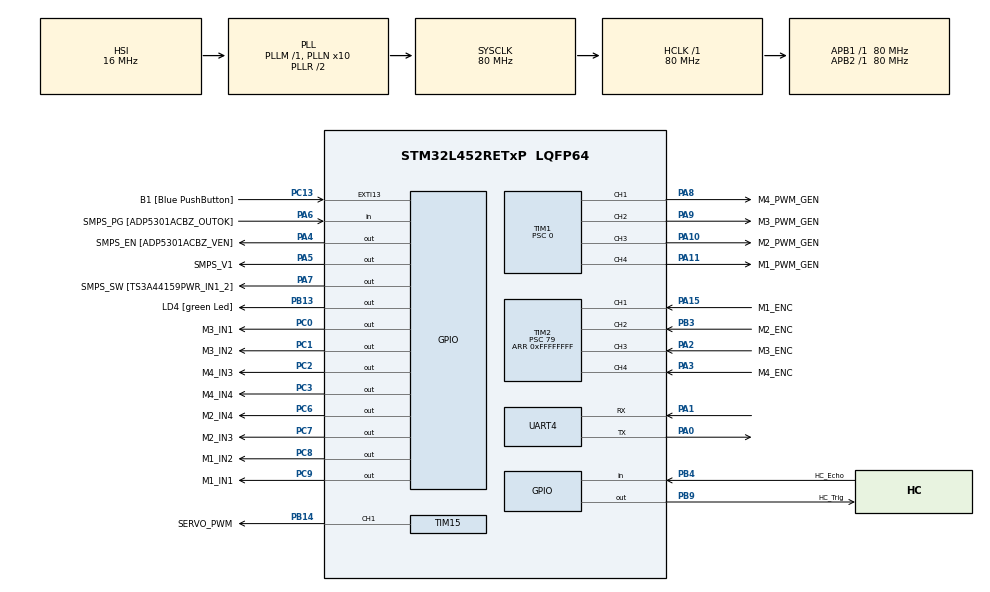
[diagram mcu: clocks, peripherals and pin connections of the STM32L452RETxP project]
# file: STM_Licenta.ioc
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FREERTOS.BinarySemaphores01=uartFree,Dynamic,NULL,Available
FREERTOS.Events01=distanceFlag,Dynamic,NULL;passedSecond,Dynamic,NULL
FREERTOS.Tasks01=defaultTask,24,128,StartDefaultTask,Default,NULL,Dynamic,NULL,NULL;transmitTask,24,128,TransmitTask,Default,NULL,Dynamic,NULL,NULL;readDistanceTas,24,128,ReadDistanceTask,Default,NULL,Dynamic,NULL,NULL
FREERTOS.configUSE_NEWLIB_REENTRANT=1
Mcu.Family=STM32L4
Mcu.Name=STM32L452RETxP
Mcu.Package=LQFP64
NVIC.EXTI15_10_IRQn=true\:6\:0\:true\:false\:true\:true\:true\:true\:true
NVIC.PriorityGroup=NVIC_PRIORITYGROUP_4
NVIC.TIM1_CC_IRQn=true\:5\:0\:false\:false\:true\:true\:true\:true\:true
NVIC.TIM2_IRQn=true\:6\:0\:true\:false\:true\:true\:true\:true\:true
NVIC.TIM6_DAC_IRQn=true\:15\:0\:false\:false\:true\:false\:false\:true\:true
NVIC.TimeBase=TIM6_DAC_IRQn
NVIC.TimeBaseIP=TIM6
NVIC.UART4_IRQn=true\:8\:0\:true\:false\:true\:true\:true\:true\:true
PA0.Mode=Asynchronous
PA0.Signal=UART4_TX
PA1.Mode=Asynchronous
PA1.Signal=UART4_RX
PA10.GPIO_Label=M2_PWM_GEN
PA10.Signal=S_TIM1_CH3
PA11.GPIO_Label=M1_PWM_GEN
PA11.Signal=S_TIM1_CH4
PA13\ (JTMS/SWDIO).GPIO_Label=TMS
PA13\ (JTMS/SWDIO).Mode=Serial_Wire
PA13\ (JTMS/SWDIO).Signal=SYS_JTMS-SWDIO
PA14\ (JTCK/SWCLK).GPIO_Label=TCK
PA14\ (JTCK/SWCLK).Mode=Serial_Wire
PA14\ (JTCK/SWCLK).Signal=SYS_JTCK-SWCLK
PA15\ (JTDI).GPIO_Label=M1_ENC
PA15\ (JTDI).Signal=S_TIM2_CH1
PA2.GPIO_Label=M3_ENC
PA2.Signal=S_TIM2_CH3
PA3.GPIO_Label=M4_ENC
PA3.Signal=S_TIM2_CH4
PA4.GPIO_Label=SMPS_EN [ADP5301ACBZ_VEN]
PA4.Signal=GPIO_Output
PA5.GPIO_Label=SMPS_V1
PA5.GPIO_ModeDefaultOutputPP=GPIO_MODE_OUTPUT_PP
PA5.GPIO_PuPd=GPIO_NOPULL
PA5.GPIO_Speed=GPIO_SPEED_FREQ_LOW
PA5.Signal=GPIO_Output
PA6.GPIO_Label=SMPS_PG [ADP5301ACBZ_OUTOK]
PA6.GPIO_PuPd=GPIO_PULLUP
PA6.Signal=GPIO_Input
PA7.GPIO_Label=SMPS_SW [TS3A44159PWR_IN1_2]
PA7.Signal=GPIO_Output
PA8.GPIO_Label=M4_PWM_GEN
PA8.Signal=S_TIM1_CH1
PA9.GPIO_Label=M3_PWM_GEN
PA9.Signal=S_TIM1_CH2
PB13.GPIO_Label=LD4 [green Led]
PB13.Signal=GPIO_Output
PB14.GPIO_Label=SERVO_PWM
PB14.Signal=S_TIM15_CH1
PB3\ (JTDO/TRACESWO).GPIO_Label=M2_ENC
PB3\ (JTDO/TRACESWO).Signal=S_TIM2_CH2
PB4\ (NJTRST).GPIO_Label=HC_Echo
PB4\ (NJTRST).Signal=GPIO_Input
PB9.GPIO_Label=HC_Trig
PB9.Signal=GPIO_Output
PC0.GPIO_Label=M3_IN1
PC0.Signal=GPIO_Output
PC1.GPIO_Label=M3_IN2
PC1.Signal=GPIO_Output
PC13.GPIO_Label=B1 [Blue PushButton]
PC13.GPIO_ModeDefaultEXTI=GPIO_MODE_IT_FALLING
PC13.GPIO_PuPd=GPIO_NOPULL
PC13.Signal=GPXTI13
PC14-OSC32_IN\ (PC14).Mode=LSE-External-Oscillator
PC14-OSC32_IN\ (PC14).Signal=RCC_OSC32_IN
PC15-OSC32_OUT\ (PC15).Mode=LSE-External-Oscillator
PC15-OSC32_OUT\ (PC15).Signal=RCC_OSC32_OUT
PC2.GPIO_Label=M4_IN3
PC2.Signal=GPIO_Output
PC3.GPIO_Label=M4_IN4
PC3.Signal=GPIO_Output
PC6.GPIO_Label=M2_IN4
PC6.Signal=GPIO_Output
PC7.GPIO_Label=M2_IN3
PC7.Signal=GPIO_Output
PC8.GPIO_Label=M1_IN2
PC8.Signal=GPIO_Output
PC9.GPIO_Label=M1_IN1
PC9.Signal=GPIO_Output
PH0-OSC_IN\ (PH0).GPIO_Label=MCO
PH0-OSC_IN\ (PH0).Mode=HSE-External-Oscillator
PH0-OSC_IN\ (PH0).Signal=RCC_OSC_IN
PH1-OSC_OUT\ (PH1).Mode=HSE-External-Oscillator
PH1-OSC_OUT\ (PH1).Signal=RCC_OSC_OUT
ProjectManager.HeapSize=0x200
ProjectManager.StackSize=0x400
ProjectManager.TargetToolchain=STM32CubeIDE
RCC.ADCFreq_Value=64000000
RCC.AHBFreq_Value=80000000
RCC.APB1Freq_Value=80000000
RCC.APB1TimFreq_Value=80000000
RCC.APB2Freq_Value=80000000
RCC.APB2TimFreq_Value=80000000
RCC.CortexFreq_Value=80000000
RCC.HCLKFreq_Value=80000000
RCC.HSE_VALUE=8000000
RCC.HSI48_VALUE=48000000
RCC.HSI_VALUE=16000000
RCC.MSI_VALUE=4000000
RCC.PLLN=10
RCC.PLLSourceVirtual=RCC_PLLSOURCE_HSI
RCC.PREFETCH_ENABLE=1
RCC.SYSCLKFreq_VALUE=80000000
RCC.SYSCLKSource=RCC_SYSCLKSOURCE_PLLCLK
RCC.USBFreq_Value=64000000
RCC.VCOOutputFreq_Value=160000000
SH.S_TIM15_CH1.0=TIM15_CH1,PWM Generation1 CH1
SH.S_TIM1_CH1.0=TIM1_CH1,PWM Generation1 CH1
SH.S_TIM1_CH2.0=TIM1_CH2,PWM Generation2 CH2
SH.S_TIM1_CH3.0=TIM1_CH3,PWM Generation3 CH3
SH.S_TIM1_CH4.0=TIM1_CH4,PWM Generation4 CH4
SH.S_TIM2_CH1.0=TIM2_CH1,Input_Capture1_from_TI1
SH.S_TIM2_CH2.0=TIM2_CH2,Input_Capture2_from_TI2
SH.S_TIM2_CH3.0=TIM2_CH3,Input_Capture3_from_TI3
SH.S_TIM2_CH4.0=TIM2_CH4,Input_Capture4_from_TI4
TIM1.AutoReloadPreload=TIM_AUTORELOAD_PRELOAD_ENABLE
TIM1.Channel-PWM\ Generation1\ CH1=TIM_CHANNEL_1
TIM1.Channel-PWM\ Generation2\ CH2=TIM_CHANNEL_2
TIM1.Channel-PWM\ Generation3\ CH3=TIM_CHANNEL_3
TIM1.Channel-PWM\ Generation4\ CH4=TIM_CHANNEL_4
TIM1.Prescaler=0
TIM15.Channel-PWM\ Generation1\ CH1=TIM_CHANNEL_1
TIM15.Period=20000
TIM15.Prescaler=79
TIM2.Channel-Input_Capture1_from_TI1=TIM_CHANNEL_1
TIM2.Channel-Input_Capture2_from_TI2=TIM_CHANNEL_2
TIM2.Channel-Input_Capture3_from_TI3=TIM_CHANNEL_3
TIM2.Channel-Input_Capture4_from_TI4=TIM_CHANNEL_4
TIM2.ICFilter_CH1=0
TIM2.ICFilter_CH2=0
TIM2.ICFilter_CH3=0
TIM2.ICFilter_CH4=0
TIM2.Period=0xFFFFFFFF
TIM2.Prescaler=79
VP_FREERTOS_VS_CMSIS_V2.Mode=CMSIS_V2
VP_SYS_VS_tim6.Mode=TIM6
VP_TIM15_VS_ClockSourceINT.Mode=Internal
VP_TIM1_VS_ClockSourceINT.Mode=Internal
VP_TIM2_VS_ClockSourceINT.Mode=Internal
VP_TIM3_VS_ClockSourceINT.Mode=Internal
board=NUCLEO-L452RE-P

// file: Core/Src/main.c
/* USER CODE BEGIN Header */
/**
  ******************************************************************************
  * @file           : main.c
  * @brief          : Main program body
  ******************************************************************************
  * @attention
  *
  * Copyright (c) 2026 STMicroelectronics.
  * All rights reserved.
  *
  * This software is licensed under terms that can be found in the LICENSE file
  * in the root directory of this software component.
  * If no LICENSE file comes with this software, it is provided AS-IS.
  *
  ******************************************************************************
  */
/* USER CODE END Header */
#include "main.h"
#include "cmsis_os.h"

/* USER CODE BEGIN Includes */

#include "stdio.h"
#include "string.h"

/* USER CODE END Includes */

TIM_HandleTypeDef htim1;
TIM_HandleTypeDef htim2;
TIM_HandleTypeDef htim3;
TIM_HandleTypeDef htim15;

UART_HandleTypeDef huart4;

/* Definitions for defaultTask */
osThreadId_t defaultTaskHandle;
const osThreadAttr_t defaultTask_attributes = {
  .name = "defaultTask",
  .stack_size = 128 * 4,
  .priority = (osPriority_t) osPriorityNormal,
};
/* Definitions for transmitTask */
osThreadId_t transmitTaskHandle;
const osThreadAttr_t transmitTask_attributes = {
  .name = "transmitTask",
  .stack_size = 128 * 4,
  .priority = (osPriority_t) osPriorityNormal,
};
/* Definitions for readDistanceTas */
osThreadId_t readDistanceTasHandle;
const osThreadAttr_t readDistanceTas_attributes = {
  .name = "readDistanceTas",
  .stack_size = 128 * 4,
  .priority = (osPriority_t) osPriorityNormal,
};
/* Definitions for uartFree */
osSemaphoreId_t uartFreeHandle;
const osSemaphoreAttr_t uartFree_attributes = {
  .name = "uartFree"
};
/* Definitions for distanceFlag */
osEventFlagsId_t distanceFlagHandle;
const osEventFlagsAttr_t distanceFlag_attributes = {
  .name = "distanceFlag"
};
/* Definitions for passedSecond */
osEventFlagsId_t passedSecondHandle;
const osEventFlagsAttr_t passedSecond_attributes = {
  .name = "passedSecond"
};
/* USER CODE BEGIN PV */

#define DISTANCE_TOO_CLOSE	(1U << 0)
#define PASSED_SECOND	(1U << 0)

/* USER CODE END PV */

void SystemClock_Config(void);
static void MX_GPIO_Init(void);
static void MX_TIM1_Init(void);
static void MX_UART4_Init(void);
static void MX_TIM2_Init(void);
static void MX_TIM3_Init(void);
static void MX_TIM15_Init(void);
void StartDefaultTask(void *argument);
void TransmitTask(void *argument);
void ReadDistanceTask(void *argument);

/* USER CODE BEGIN 0 */

uint8_t message, timer_counter = 0;

int __io_putchar(int ch)
{
 // Write character to ITM ch.0
 ITM_SendChar(ch);
 return(ch);
}

/* USER CODE END 0 */

int main(void)
{

  /* MCU Configuration--------------------------------------------------------*/

  /* Reset of all peripherals, Initializes the Flash interface and the Systick. */
  HAL_Init();

  /* USER CODE BEGIN Init */

  CoreDebug->DEMCR |= CoreDebug_DEMCR_TRCENA_Msk;
  DWT->CYCCNT = 0;
  DWT->CTRL |= DWT_CTRL_CYCCNTENA_Msk;

  /* USER CODE END Init */

  /* Configure the system clock */
  SystemClock_Config();

  /* Initialize all configured peripherals */
  MX_GPIO_Init();
  MX_TIM1_Init();
  MX_UART4_Init();
  MX_TIM2_Init();
  MX_TIM3_Init();
  MX_TIM15_Init();
  /* USER CODE BEGIN 2 */
  __HAL_RCC_TIM2_CLK_ENABLE();

  CoreDebug->DEMCR |= CoreDebug_DEMCR_TRCENA_Msk;
  ITM->LAR = 0xC5ACCE55;
  ITM->TCR = ITM_TCR_ITMENA_Msk | ITM_TCR_TSENA_Msk;
  ITM->TER = 1;

  InitializeMotorAtts();
  InitializeServo();

	__HAL_RCC_TIM2_CLK_ENABLE();
	HAL_TIM_Base_Start(&htim2);
	HAL_TIM_IC_Start_IT(&htim2, TIM_CHANNEL_1);
	HAL_TIM_IC_Start_IT(&htim2, TIM_CHANNEL_2);
	HAL_TIM_IC_Start_IT(&htim2, TIM_CHANNEL_3);
	HAL_TIM_IC_Start_IT(&htim2, TIM_CHANNEL_4);

	HAL_TIM_PWM_Start(&htim1, TIM_CHANNEL_1);
	HAL_TIM_PWM_Start(&htim1, TIM_CHANNEL_2);
	HAL_TIM_PWM_Start(&htim1, TIM_CHANNEL_3);
	HAL_TIM_PWM_Start(&htim1, TIM_CHANNEL_4);

	HAL_TIM_PWM_Start(&htim15, TIM_CHANNEL_1);

  /* USER CODE END 2 */

  /* Init scheduler */
  osKernelInitialize();

  /* Create the semaphores(s) */
  /* creation of uartFree */
  uartFreeHandle = osSemaphoreNew(1, 1, &uartFree_attributes);

  /* Create the thread(s) */
  /* creation of defaultTask */
  defaultTaskHandle = osThreadNew(StartDefaultTask, NULL, &defaultTask_attributes);

  /* creation of transmitTask */
  transmitTaskHandle = osThreadNew(TransmitTask, NULL, &transmitTask_attributes);

  /* creation of readDistanceTas */
  readDistanceTasHandle = osThreadNew(ReadDistanceTask, NULL, &readDistanceTas_attributes);

  /* Create the event(s) */
  /* creation of distanceFlag */
  distanceFlagHandle = osEventFlagsNew(&distanceFlag_attributes);

  /* creation of passedSecond */
  passedSecondHandle = osEventFlagsNew(&passedSecond_attributes);

  /* Start scheduler */
  osKernelStart();

  /* We should never get here as control is now taken by the scheduler */

  /* Infinite loop */
  while (1)
  {

  }
}

void SystemClock_Config(void)
{
  RCC_OscInitTypeDef RCC_OscInitStruct = {0};
  RCC_ClkInitTypeDef RCC_ClkInitStruct = {0};

  /** Configure the main internal regulator output voltage
  */
  if (HAL_PWREx_ControlVoltageScaling(PWR_REGULATOR_VOLTAGE_SCALE1) != HAL_OK)
  {
    Error_Handler();
  }

  /** Initializes the RCC Oscillators according to the specified parameters
  * in the RCC_OscInitTypeDef structure.
  */
  RCC_OscInitStruct.OscillatorType = RCC_OSCILLATORTYPE_HSI;
  RCC_OscInitStruct.HSIState = RCC_HSI_ON;
  RCC_OscInitStruct.HSICalibrationValue = 64;
  RCC_OscInitStruct.PLL.PLLState = RCC_PLL_ON;
  RCC_OscInitStruct.PLL.PLLSource = RCC_PLLSOURCE_HSI;
  RCC_OscInitStruct.PLL.PLLM = 1;
  RCC_OscInitStruct.PLL.PLLN = 10;
  RCC_OscInitStruct.PLL.PLLP = RCC_PLLP_DIV7;
  RCC_OscInitStruct.PLL.PLLQ = RCC_PLLQ_DIV2;
  RCC_OscInitStruct.PLL.PLLR = RCC_PLLR_DIV2;
  if (HAL_RCC_OscConfig(&RCC_OscInitStruct) != HAL_OK)
  {
    Error_Handler();
  }

  /** Initializes the CPU, AHB and APB buses clocks
  */
  RCC_ClkInitStruct.ClockType = RCC_CLOCKTYPE_HCLK|RCC_CLOCKTYPE_SYSCLK
                              |RCC_CLOCKTYPE_PCLK1|RCC_CLOCKTYPE_PCLK2;
  RCC_ClkInitStruct.SYSCLKSource = RCC_SYSCLKSOURCE_PLLCLK;
  RCC_ClkInitStruct.AHBCLKDivider = RCC_SYSCLK_DIV1;
  RCC_ClkInitStruct.APB1CLKDivider = RCC_HCLK_DIV1;
  RCC_ClkInitStruct.APB2CLKDivider = RCC_HCLK_DIV1;

  if (HAL_RCC_ClockConfig(&RCC_ClkInitStruct, FLASH_LATENCY_4) != HAL_OK)
  {
    Error_Handler();
  }
}

static void MX_TIM1_Init(void)
{

  TIM_ClockConfigTypeDef sClockSourceConfig = {0};
  TIM_MasterConfigTypeDef sMasterConfig = {0};
  TIM_OC_InitTypeDef sConfigOC = {0};
  TIM_BreakDeadTimeConfigTypeDef sBreakDeadTimeConfig = {0};

  htim1.Instance = TIM1;
  htim1.Init.Prescaler = 0;
  htim1.Init.CounterMode = TIM_COUNTERMODE_UP;
  htim1.Init.Period = 65535;
  htim1.Init.ClockDivision = TIM_CLOCKDIVISION_DIV1;
  htim1.Init.RepetitionCounter = 0;
  htim1.Init.AutoReloadPreload = TIM_AUTORELOAD_PRELOAD_ENABLE;
  if (HAL_TIM_Base_Init(&htim1) != HAL_OK)
  {
    Error_Handler();
  }
  sClockSourceConfig.ClockSource = TIM_CLOCKSOURCE_INTERNAL;
  if (HAL_TIM_ConfigClockSource(&htim1, &sClockSourceConfig) != HAL_OK)
  {
    Error_Handler();
  }
  if (HAL_TIM_PWM_Init(&htim1) != HAL_OK)
  {
    Error_Handler();
  }
  sMasterConfig.MasterOutputTrigger = TIM_TRGO_RESET;
  sMasterConfig.MasterOutputTrigger2 = TIM_TRGO2_RESET;
  sMasterConfig.MasterSlaveMode = TIM_MASTERSLAVEMODE_DISABLE;
  if (HAL_TIMEx_MasterConfigSynchronization(&htim1, &sMasterConfig) != HAL_OK)
  {
    Error_Handler();
  }
  sConfigOC.OCMode = TIM_OCMODE_PWM1;
  sConfigOC.Pulse = 0;
  sConfigOC.OCPolarity = TIM_OCPOLARITY_HIGH;
  sConfigOC.OCNPolarity = TIM_OCNPOLARITY_HIGH;
  sConfigOC.OCFastMode = TIM_OCFAST_DISABLE;
  sConfigOC.OCIdleState = TIM_OCIDLESTATE_RESET;
  sConfigOC.OCNIdleState = TIM_OCNIDLESTATE_RESET;
  if (HAL_TIM_PWM_ConfigChannel(&htim1, &sConfigOC, TIM_CHANNEL_1) != HAL_OK)
  {
    Error_Handler();
  }
  if (HAL_TIM_PWM_ConfigChannel(&htim1, &sConfigOC, TIM_CHANNEL_2) != HAL_OK)
  {
    Error_Handler();
  }
  if (HAL_TIM_PWM_ConfigChannel(&htim1, &sConfigOC, TIM_CHANNEL_3) != HAL_OK)
  {
    Error_Handler();
  }
  if (HAL_TIM_PWM_ConfigChannel(&htim1, &sConfigOC, TIM_CHANNEL_4) != HAL_OK)
  {
    Error_Handler();
  }
  sBreakDeadTimeConfig.OffStateRunMode = TIM_OSSR_DISABLE;
  sBreakDeadTimeConfig.OffStateIDLEMode = TIM_OSSI_DISABLE;
  sBreakDeadTimeConfig.LockLevel = TIM_LOCKLEVEL_OFF;
  sBreakDeadTimeConfig.DeadTime = 0;
  sBreakDeadTimeConfig.BreakState = TIM_BREAK_DISABLE;
  sBreakDeadTimeConfig.BreakPolarity = TIM_BREAKPOLARITY_HIGH;
  sBreakDeadTimeConfig.BreakFilter = 0;
  sBreakDeadTimeConfig.Break2State = TIM_BREAK2_DISABLE;
  sBreakDeadTimeConfig.Break2Polarity = TIM_BREAK2POLARITY_HIGH;
  sBreakDeadTimeConfig.Break2Filter = 0;
  sBreakDeadTimeConfig.AutomaticOutput = TIM_AUTOMATICOUTPUT_DISABLE;
  if (HAL_TIMEx_ConfigBreakDeadTime(&htim1, &sBreakDeadTimeConfig) != HAL_OK)
  {
    Error_Handler();
  }
  HAL_TIM_MspPostInit(&htim1);

}

static void MX_TIM2_Init(void)
{

  TIM_ClockConfigTypeDef sClockSourceConfig = {0};
  TIM_MasterConfigTypeDef sMasterConfig = {0};
  TIM_IC_InitTypeDef sConfigIC = {0};

  htim2.Instance = TIM2;
  htim2.Init.Prescaler = 79;
  htim2.Init.CounterMode = TIM_COUNTERMODE_UP;
  htim2.Init.Period = 0xFFFFFFFF;
  htim2.Init.ClockDivision = TIM_CLOCKDIVISION_DIV1;
  htim2.Init.AutoReloadPreload = TIM_AUTORELOAD_PRELOAD_DISABLE;
  if (HAL_TIM_Base_Init(&htim2) != HAL_OK)
  {
    Error_Handler();
  }
  sClockSourceConfig.ClockSource = TIM_CLOCKSOURCE_INTERNAL;
  if (HAL_TIM_ConfigClockSource(&htim2, &sClockSourceConfig) != HAL_OK)
  {
    Error_Handler();
  }
  if (HAL_TIM_IC_Init(&htim2) != HAL_OK)
  {
    Error_Handler();
  }
  sMasterConfig.MasterOutputTrigger = TIM_TRGO_RESET;
  sMasterConfig.MasterSlaveMode = TIM_MASTERSLAVEMODE_DISABLE;
  if (HAL_TIMEx_MasterConfigSynchronization(&htim2, &sMasterConfig) != HAL_OK)
  {
    Error_Handler();
  }
  sConfigIC.ICPolarity = TIM_INPUTCHANNELPOLARITY_RISING;
  sConfigIC.ICSelection = TIM_ICSELECTION_DIRECTTI;
  sConfigIC.ICPrescaler = TIM_ICPSC_DIV1;
  sConfigIC.ICFilter = 0;
  if (HAL_TIM_IC_ConfigChannel(&htim2, &sConfigIC, TIM_CHANNEL_1) != HAL_OK)
  {
    Error_Handler();
  }
  if (HAL_TIM_IC_ConfigChannel(&htim2, &sConfigIC, TIM_CHANNEL_2) != HAL_OK)
  {
    Error_Handler();
  }
  if (HAL_TIM_IC_ConfigChannel(&htim2, &sConfigIC, TIM_CHANNEL_3) != HAL_OK)
  {
    Error_Handler();
  }
  if (HAL_TIM_IC_ConfigChannel(&htim2, &sConfigIC, TIM_CHANNEL_4) != HAL_OK)
  {
    Error_Handler();
  }

}

static void MX_TIM3_Init(void)
{

  TIM_ClockConfigTypeDef sClockSourceConfig = {0};
  TIM_MasterConfigTypeDef sMasterConfig = {0};

  htim3.Instance = TIM3;
  htim3.Init.Prescaler = 0;
  htim3.Init.CounterMode = TIM_COUNTERMODE_UP;
  htim3.Init.Period = 65535;
  htim3.Init.ClockDivision = TIM_CLOCKDIVISION_DIV1;
  htim3.Init.AutoReloadPreload = TIM_AUTORELOAD_PRELOAD_DISABLE;
  if (HAL_TIM_Base_Init(&htim3) != HAL_OK)
  {
    Error_Handler();
  }
  sClockSourceConfig.ClockSource = TIM_CLOCKSOURCE_INTERNAL;
  if (HAL_TIM_ConfigClockSource(&htim3, &sClockSourceConfig) != HAL_OK)
  {
    Error_Handler();
  }
  sMasterConfig.MasterOutputTrigger = TIM_TRGO_RESET;
  sMasterConfig.MasterSlaveMode = TIM_MASTERSLAVEMODE_DISABLE;
  if (HAL_TIMEx_MasterConfigSynchronization(&htim3, &sMasterConfig) != HAL_OK)
  {
    Error_Handler();
  }

}

static void MX_TIM15_Init(void)
{

  TIM_ClockConfigTypeDef sClockSourceConfig = {0};
  TIM_MasterConfigTypeDef sMasterConfig = {0};
  TIM_OC_InitTypeDef sConfigOC = {0};
  TIM_BreakDeadTimeConfigTypeDef sBreakDeadTimeConfig = {0};

  htim15.Instance = TIM15;
  htim15.Init.Prescaler = 79;
  htim15.Init.CounterMode = TIM_COUNTERMODE_UP;
  htim15.Init.Period = 20000;
  htim15.Init.ClockDivision = TIM_CLOCKDIVISION_DIV1;
  htim15.Init.RepetitionCounter = 0;
  htim15.Init.AutoReloadPreload = TIM_AUTORELOAD_PRELOAD_DISABLE;
  if (HAL_TIM_Base_Init(&htim15) != HAL_OK)
  {
    Error_Handler();
  }
  sClockSourceConfig.ClockSource = TIM_CLOCKSOURCE_INTERNAL;
  if (HAL_TIM_ConfigClockSource(&htim15, &sClockSourceConfig) != HAL_OK)
  {
    Error_Handler();
  }
  if (HAL_TIM_PWM_Init(&htim15) != HAL_OK)
  {
    Error_Handler();
  }
  sMasterConfig.MasterOutputTrigger = TIM_TRGO_RESET;
  sMasterConfig.MasterSlaveMode = TIM_MASTERSLAVEMODE_DISABLE;
  if (HAL_TIMEx_MasterConfigSynchronization(&htim15, &sMasterConfig) != HAL_OK)
  {
    Error_Handler();
  }
  sConfigOC.OCMode = TIM_OCMODE_PWM1;
  sConfigOC.Pulse = 0;
  sConfigOC.OCPolarity = TIM_OCPOLARITY_HIGH;
  sConfigOC.OCNPolarity = TIM_OCNPOLARITY_HIGH;
  sConfigOC.OCFastMode = TIM_OCFAST_DISABLE;
  sConfigOC.OCIdleState = TIM_OCIDLESTATE_RESET;
  sConfigOC.OCNIdleState = TIM_OCNIDLESTATE_RESET;
  if (HAL_TIM_PWM_ConfigChannel(&htim15, &sConfigOC, TIM_CHANNEL_1) != HAL_OK)
  {
    Error_Handler();
  }
  sBreakDeadTimeConfig.OffStateRunMode = TIM_OSSR_DISABLE;
  sBreakDeadTimeConfig.OffStateIDLEMode = TIM_OSSI_DISABLE;
  sBreakDeadTimeConfig.LockLevel = TIM_LOCKLEVEL_OFF;
  sBreakDeadTimeConfig.DeadTime = 0;
  sBreakDeadTimeConfig.BreakState = TIM_BREAK_DISABLE;
  sBreakDeadTimeConfig.BreakPolarity = TIM_BREAKPOLARITY_HIGH;
  sBreakDeadTimeConfig.AutomaticOutput = TIM_AUTOMATICOUTPUT_DISABLE;
  if (HAL_TIMEx_ConfigBreakDeadTime(&htim15, &sBreakDeadTimeConfig) != HAL_OK)
  {
    Error_Handler();
  }
  HAL_TIM_MspPostInit(&htim15);

}

static void MX_UART4_Init(void)
{

  huart4.Instance = UART4;
  huart4.Init.BaudRate = 115200;
  huart4.Init.WordLength = UART_WORDLENGTH_8B;
  huart4.Init.StopBits = UART_STOPBITS_1;
  huart4.Init.Parity = UART_PARITY_NONE;
  huart4.Init.Mode = UART_MODE_TX_RX;
  huart4.Init.HwFlowCtl = UART_HWCONTROL_NONE;
  huart4.Init.OverSampling = UART_OVERSAMPLING_16;
  huart4.Init.OneBitSampling = UART_ONE_BIT_SAMPLE_DISABLE;
  huart4.AdvancedInit.AdvFeatureInit = UART_ADVFEATURE_NO_INIT;
  if (HAL_UART_Init(&huart4) != HAL_OK)
  {
    Error_Handler();
  }

}

static void MX_GPIO_Init(void)
{
  GPIO_InitTypeDef GPIO_InitStruct = {0};

  /* GPIO Ports Clock Enable */
  __HAL_RCC_GPIOC_CLK_ENABLE();
  __HAL_RCC_GPIOH_CLK_ENABLE();
  __HAL_RCC_GPIOA_CLK_ENABLE();
  __HAL_RCC_GPIOB_CLK_ENABLE();

  /*Configure GPIO pin Output Level */
  HAL_GPIO_WritePin(GPIOC, M3_IN1_Pin|M3_IN2_Pin|M4_IN3_Pin|M4_IN4_Pin
                          |M2_IN4_Pin|M2_IN3_Pin|M1_IN2_Pin|M1_IN1_Pin, GPIO_PIN_RESET);

  /*Configure GPIO pin Output Level */
  HAL_GPIO_WritePin(GPIOA, SMPS_EN_Pin|SMPS_V1_Pin|SMPS_SW_Pin, GPIO_PIN_RESET);

  /*Configure GPIO pin Output Level */
  HAL_GPIO_WritePin(GPIOB, LD4_Pin|HC_Trig_Pin, GPIO_PIN_RESET);

  /*Configure GPIO pin : B1_Pin */
  GPIO_InitStruct.Pin = B1_Pin;
  GPIO_InitStruct.Mode = GPIO_MODE_IT_FALLING;
  GPIO_InitStruct.Pull = GPIO_NOPULL;
  HAL_GPIO_Init(B1_GPIO_Port, &GPIO_InitStruct);

  /*Configure GPIO pins : M3_IN1_Pin M3_IN2_Pin M4_IN3_Pin M4_IN4_Pin
                           M2_IN4_Pin M2_IN3_Pin M1_IN2_Pin M1_IN1_Pin */
  GPIO_InitStruct.Pin = M3_IN1_Pin|M3_IN2_Pin|M4_IN3_Pin|M4_IN4_Pin
                          |M2_IN4_Pin|M2_IN3_Pin|M1_IN2_Pin|M1_IN1_Pin;
  GPIO_InitStruct.Mode = GPIO_MODE_OUTPUT_PP;
  GPIO_InitStruct.Pull = GPIO_NOPULL;
  GPIO_InitStruct.Speed = GPIO_SPEED_FREQ_LOW;
  HAL_GPIO_Init(GPIOC, &GPIO_InitStruct);

  /*Configure GPIO pins : SMPS_EN_Pin SMPS_V1_Pin SMPS_SW_Pin */
  GPIO_InitStruct.Pin = SMPS_EN_Pin|SMPS_V1_Pin|SMPS_SW_Pin;
  GPIO_InitStruct.Mode = GPIO_MODE_OUTPUT_PP;
  GPIO_InitStruct.Pull = GPIO_NOPULL;
  GPIO_InitStruct.Speed = GPIO_SPEED_FREQ_LOW;
  HAL_GPIO_Init(GPIOA, &GPIO_InitStruct);

  /*Configure GPIO pin : SMPS_PG_Pin */
  GPIO_InitStruct.Pin = SMPS_PG_Pin;
  GPIO_InitStruct.Mode = GPIO_MODE_INPUT;
  GPIO_InitStruct.Pull = GPIO_PULLUP;
  HAL_GPIO_Init(SMPS_PG_GPIO_Port, &GPIO_InitStruct);

  /*Configure GPIO pins : LD4_Pin HC_Trig_Pin */
  GPIO_InitStruct.Pin = LD4_Pin|HC_Trig_Pin;
  GPIO_InitStruct.Mode = GPIO_MODE_OUTPUT_PP;
  GPIO_InitStruct.Pull = GPIO_NOPULL;
  GPIO_InitStruct.Speed = GPIO_SPEED_FREQ_LOW;
  HAL_GPIO_Init(GPIOB, &GPIO_InitStruct);

  /*Configure GPIO pin : HC_Echo_Pin */
  GPIO_InitStruct.Pin = HC_Echo_Pin;
  GPIO_InitStruct.Mode = GPIO_MODE_INPUT;
  GPIO_InitStruct.Pull = GPIO_NOPULL;
  HAL_GPIO_Init(HC_Echo_GPIO_Port, &GPIO_InitStruct);

  /* EXTI interrupt init*/
  HAL_NVIC_SetPriority(EXTI15_10_IRQn, 6, 0);
  HAL_NVIC_EnableIRQ(EXTI15_10_IRQn);

}

/* USER CODE BEGIN 4 */

typedef struct SERVO {
	uint16_t SERVO_PIN;
	GPIO_TypeDef* SERVO_PIN_PORT;
} SERVO;

SERVO servo;

volatile uint16_t rotationsM1, rotationsM2, rotationsM3, rotationsM4;

typedef struct MOTOR {
	uint16_t MOTOR_PIN1;
	uint16_t MOTOR_PIN2;
	GPIO_TypeDef* MOTOR_PIN_PORT;

	uint16_t MOTOR_PIN_ENC;
	GPIO_TypeDef* MOTOR_PIN_ENC_PORT;

	uint16_t MOTOR_PIN_PWM;
	GPIO_TypeDef* MOTOR_PIN_PWM_PORT;

	volatile uint16_t MOTOR_ROTATIONS;
} MOTOR;

MOTOR M1, M2, M3, M4;

void InitializeServo()
{
	servo.SERVO_PIN = SERVO_PWM_Pin;
	servo.SERVO_PIN_PORT = SERVO_PWM_GPIO_Port;
}

void InitializeMotorAtts()
{
	M1.MOTOR_PIN1 = M1_IN1_Pin;
	M1.MOTOR_PIN2 = M1_IN2_Pin;
	M1.MOTOR_PIN_PORT = M1_IN1_GPIO_Port;
	M1.MOTOR_PIN_ENC = M1_ENC_Pin;
	M1.MOTOR_PIN_ENC_PORT = M1_ENC_GPIO_Port;
	M1.MOTOR_PIN_PWM = M1_PWM_GEN_Pin;
	M1.MOTOR_PIN_PWM_PORT = M1_PWM_GEN_GPIO_Port;
	M1.MOTOR_ROTATIONS = 0;

	M2.MOTOR_PIN1 = M2_IN3_Pin;
	M2.MOTOR_PIN2 = M2_IN4_Pin;
	M2.MOTOR_PIN_PORT = M2_IN3_GPIO_Port;
	M2.MOTOR_PIN_ENC = M2_ENC_Pin;
	M2.MOTOR_PIN_ENC_PORT = M2_ENC_GPIO_Port;
	M2.MOTOR_PIN_PWM = M2_PWM_GEN_Pin;
	M2.MOTOR_PIN_PWM_PORT = M2_PWM_GEN_GPIO_Port;
	M2.MOTOR_ROTATIONS = 0;

	M3.MOTOR_PIN1 = M3_IN1_Pin;
	M3.MOTOR_PIN2 = M3_IN2_Pin;
	M3.MOTOR_PIN_PORT = M3_IN1_GPIO_Port;
	M3.MOTOR_PIN_ENC = M3_ENC_Pin;
	M3.MOTOR_PIN_ENC_PORT = M3_ENC_GPIO_Port;
	M3.MOTOR_PIN_PWM = M3_PWM_GEN_Pin;
	M3.MOTOR_PIN_PWM_PORT = M3_PWM_GEN_GPIO_Port;
	M3.MOTOR_ROTATIONS = 0;

	M4.MOTOR_PIN1 = M4_IN3_Pin;
	M4.MOTOR_PIN2 = M4_IN4_Pin;
	M4.MOTOR_PIN_PORT = M4_IN3_GPIO_Port;
	M4.MOTOR_PIN_ENC = M4_ENC_Pin;
	M4.MOTOR_PIN_ENC_PORT = M4_ENC_GPIO_Port;
	M4.MOTOR_PIN_PWM = M4_PWM_GEN_Pin;
	M4.MOTOR_PIN_PWM_PORT = M4_PWM_GEN_GPIO_Port;
	M4.MOTOR_ROTATIONS = 0;
}

uint32_t last_tick_ch1 = 0;
uint32_t last_tick_ch2 = 0;
uint32_t last_tick_ch3 = 0;
uint32_t last_tick_ch4 = 0;

#define DEBOUNCE_TIME 1000

void HAL_TIM_IC_CaptureCallback(TIM_HandleTypeDef *htim)
{
	if (htim->Instance == TIM2)
	{
		uint32_t current_time = __HAL_TIM_GET_COUNTER(&htim2);
		switch(htim->Channel)
		{
		case HAL_TIM_ACTIVE_CHANNEL_1:
			if(current_time - last_tick_ch1 >= DEBOUNCE_TIME){
				M1.MOTOR_ROTATIONS++;
				last_tick_ch1 = current_time;
			}
			break;
		case HAL_TIM_ACTIVE_CHANNEL_2:
			if(current_time - last_tick_ch2 >= DEBOUNCE_TIME){
				M2.MOTOR_ROTATIONS++;
				last_tick_ch2 = current_time;
			}
			break;
		case HAL_TIM_ACTIVE_CHANNEL_3:
			if(current_time - last_tick_ch3 >= DEBOUNCE_TIME){
				M3.MOTOR_ROTATIONS++;
				last_tick_ch3 = current_time;
			}
			break;
		case HAL_TIM_ACTIVE_CHANNEL_4:
			if(current_time - last_tick_ch4 >= DEBOUNCE_TIME){
				M4.MOTOR_ROTATIONS++;
				last_tick_ch4 = current_time;
			}
			break;
		default: break;
		}
	}
}

uint8_t received_select[2] = {0, 0};

void HAL_UART_RxCpltCallback(UART_HandleTypeDef *huart)
{
  if (huart->Instance == UART4)
  {
	osSemaphoreAcquire(uartFreeHandle, 1);

	if (message == 0xAA)
	{
		received_select[0] = 1;
	}
	else if(received_select[0])
	{
    	HAL_GPIO_TogglePin(LD4_GPIO_Port, LD4_Pin);

    	    uint8_t PWM_DC_VAL = 0 |
    	    		(message & (1 << 1)) |
    				(message & (1 << 2)) |
    				(message & (1 << 3));
    	    PWM_DC_VAL = PWM_DC_VAL >> 1;
    	    uint16_t pwm_value;
    	    switch(PWM_DC_VAL) {
    			case 0: pwm_value = 0; break;
    	    	case 1: pwm_value = (uint16_t) 65535 * 0.2; break;
    	    	case 2: pwm_value = (uint16_t) 65535 * 0.4; break;
    	    	case 3: pwm_value = (uint16_t) 65535 * 0.6; break;
    	    	case 4: pwm_value = (uint16_t) 65535 * 0.8; break;
    	    	case 5: pwm_value = 65535; break;
    	    	default: break;
    	    }

    	    uint8_t MOVE_FORWARD = !(message & (1 << 0));

    	    if (message & (1 << 4)) {
    	    	if (MOVE_FORWARD) {
    	    		HAL_GPIO_WritePin(M1.MOTOR_PIN_PORT, M1.MOTOR_PIN1, GPIO_PIN_RESET);
    				HAL_GPIO_WritePin(M1.MOTOR_PIN_PORT, M1.MOTOR_PIN2, GPIO_PIN_SET);
    				__HAL_TIM_SET_COMPARE(&htim1, TIM_CHANNEL_1, pwm_value);
    				__HAL_TIM_SET_COMPARE(&htim1, TIM_CHANNEL_2, pwm_value);
    	    	}
    	    	else {
    	    		HAL_GPIO_WritePin(M1.MOTOR_PIN_PORT, M1.MOTOR_PIN1, GPIO_PIN_SET);
    				HAL_GPIO_WritePin(M1.MOTOR_PIN_PORT, M1.MOTOR_PIN2, GPIO_PIN_RESET);
    				__HAL_TIM_SET_COMPARE(&htim1, TIM_CHANNEL_1, pwm_value);
    				__HAL_TIM_SET_COMPARE(&htim1, TIM_CHANNEL_2, pwm_value);
    	    	}
    	    }
    	    else {
    			__HAL_TIM_SET_COMPARE(&htim1, TIM_CHANNEL_1, 0);
    			__HAL_TIM_SET_COMPARE(&htim1, TIM_CHANNEL_2, 0);
    	    }

    	    if (message & (1 << 5)) {
    			if (MOVE_FORWARD) {
    				HAL_GPIO_WritePin(M2.MOTOR_PIN_PORT, M2.MOTOR_PIN1, GPIO_PIN_RESET);
    				HAL_GPIO_WritePin(M2.MOTOR_PIN_PORT, M2.MOTOR_PIN2, GPIO_PIN_SET);
    				__HAL_TIM_SET_COMPARE(&htim1, TIM_CHANNEL_1, pwm_value);
    				__HAL_TIM_SET_COMPARE(&htim1, TIM_CHANNEL_2, pwm_value);
    			}
    			else {
    				HAL_GPIO_WritePin(M2.MOTOR_PIN_PORT, M2.MOTOR_PIN1, GPIO_PIN_SET);
    				HAL_GPIO_WritePin(M2.MOTOR_PIN_PORT, M2.MOTOR_PIN2, GPIO_PIN_RESET);
    				__HAL_TIM_SET_COMPARE(&htim1, TIM_CHANNEL_1, pwm_value);
    				__HAL_TIM_SET_COMPARE(&htim1, TIM_CHANNEL_2, pwm_value);
    			}
    		}
    		else {
    			__HAL_TIM_SET_COMPARE(&htim1, TIM_CHANNEL_1, 0);
    			__HAL_TIM_SET_COMPARE(&htim1, TIM_CHANNEL_2, 0);
    		}

    		if (message & (1 << 6)) {
    			if (MOVE_FORWARD) {
    				HAL_GPIO_WritePin(M3.MOTOR_PIN_PORT, M3.MOTOR_PIN1, GPIO_PIN_RESET);
    				HAL_GPIO_WritePin(M3.MOTOR_PIN_PORT, M3.MOTOR_PIN2, GPIO_PIN_SET);
    				__HAL_TIM_SET_COMPARE(&htim1, TIM_CHANNEL_3, pwm_value);
    				__HAL_TIM_SET_COMPARE(&htim1, TIM_CHANNEL_4, pwm_value);
    			}
    			else {
    				HAL_GPIO_WritePin(M3.MOTOR_PIN_PORT, M3.MOTOR_PIN1, GPIO_PIN_SET);
    				HAL_GPIO_WritePin(M3.MOTOR_PIN_PORT, M3.MOTOR_PIN2, GPIO_PIN_RESET);
    				__HAL_TIM_SET_COMPARE(&htim1, TIM_CHANNEL_3, pwm_value);
    				__HAL_TIM_SET_COMPARE(&htim1, TIM_CHANNEL_4, pwm_value);
    			}
    		}
    		else {
    			__HAL_TIM_SET_COMPARE(&htim1, TIM_CHANNEL_3, 0);
    			__HAL_TIM_SET_COMPARE(&htim1, TIM_CHANNEL_4, 0);
    		}

    		if (message & (1 << 7)) {
    			if (MOVE_FORWARD) {
    				HAL_GPIO_WritePin(M4.MOTOR_PIN_PORT, M4.MOTOR_PIN1, GPIO_PIN_RESET);
    				HAL_GPIO_WritePin(M4.MOTOR_PIN_PORT, M4.MOTOR_PIN2, GPIO_PIN_SET);
    				__HAL_TIM_SET_COMPARE(&htim1, TIM_CHANNEL_3, pwm_value);
    				__HAL_TIM_SET_COMPARE(&htim1, TIM_CHANNEL_4, pwm_value);
    			}
    			else {
    				HAL_GPIO_WritePin(M4.MOTOR_PIN_PORT, M4.MOTOR_PIN1, GPIO_PIN_SET);
    				HAL_GPIO_WritePin(M4.MOTOR_PIN_PORT, M4.MOTOR_PIN2, GPIO_PIN_RESET);
    				__HAL_TIM_SET_COMPARE(&htim1, TIM_CHANNEL_3, pwm_value);
    				__HAL_TIM_SET_COMPARE(&htim1, TIM_CHANNEL_4, pwm_value);
    			}
    		}
    		else {
    			__HAL_TIM_SET_COMPARE(&htim1, TIM_CHANNEL_3, 0);
    			__HAL_TIM_SET_COMPARE(&htim1, TIM_CHANNEL_4, 0);
    		}

    		received_select[0] = 0;
    	}

	if (message == 0xAB)
	{
		received_select[1] = 1;
	}
	else if(received_select[1])
	{
		HAL_GPIO_TogglePin(LD4_GPIO_Port, LD4_Pin);

			uint8_t PWM_DC_VAL = 0 |
					(message & (1 << 0)) |
					(message & (1 << 1)) |
					(message & (1 << 2)) |
					(message & (1 << 3));

			uint16_t pwm_value;
			if(PWM_DC_VAL == 0) pwm_value = 1000;
			else pwm_value = 1000 + 100 * PWM_DC_VAL;
			__HAL_TIM_SET_COMPARE(&htim15, TIM_CHANNEL_1, pwm_value);

    		received_select[1] = 0;
    	}

    	HAL_UART_Receive_IT(&huart4, &message, 1);
    	osSemaphoreRelease(uartFreeHandle);
  }
}

/* USER CODE END 4 */

/* USER CODE BEGIN Header_StartDefaultTask */

/**
  * @brief  Function implementing the defaultTask thread.
  * @param  argument: Not used
  * @retval None
  */

static TickType_t last_time1 = 0, last_time2 = 0;

/* USER CODE END Header_StartDefaultTask */
void StartDefaultTask(void *argument)
{
  /* USER CODE BEGIN 5 */

	HAL_UART_Receive_IT(&huart4, &message, 1);

  /* Infinite loop */
	  for(;;)
	  {

		  if(xTaskGetTickCount() - last_time1 >= 10)
		  {
			  last_time1 += 10;
			  osEventFlagsSet(passedSecondHandle, PASSED_SECOND);

			  HAL_GPIO_TogglePin(LD4_GPIO_Port, LD4_Pin);
		  }

		  if(xTaskGetTickCount() - last_time2 >= 1000)
		  {
			  last_time2 += 1000;
	    	  M1.MOTOR_ROTATIONS = 0;
	    	  M2.MOTOR_ROTATIONS = 0;
	    	  M3.MOTOR_ROTATIONS = 0;
	    	  M4.MOTOR_ROTATIONS = 0;
		  }

		  osDelay(1);
	  }
  /* USER CODE END 5 */
}

void TransmitTask(void *argument)
{
  /* USER CODE BEGIN TransmitTask */
  /* Infinite loop */
	for(;;)
	{
		osSemaphoreAcquire(uartFreeHandle, 10);

		rotationsM1 = M1.MOTOR_ROTATIONS;
		rotationsM2 = M2.MOTOR_ROTATIONS;
		rotationsM3 = M3.MOTOR_ROTATIONS;
		rotationsM4 = M4.MOTOR_ROTATIONS;

		uint32_t flagDistance = osEventFlagsGet(distanceFlagHandle);
		uint32_t flagSecond = osEventFlagsGet(passedSecondHandle);

		if(flagDistance & DISTANCE_TOO_CLOSE)
		{
			uint8_t tx[1];
			tx[0] = 0xFA;
			HAL_UART_Transmit(&huart4, tx, 1, 10);
			HAL_GPIO_TogglePin(LD4_GPIO_Port, LD4_Pin);
		}
		else if(flagSecond & PASSED_SECOND){
			uint8_t tx[12];
			tx[0] = 0xAA;
			tx[1] = rotationsM1 & 0xFF;
			tx[2] = (rotationsM1 >> 8) & 0xFF;
			tx[3] = 0xAB;
			tx[4] = rotationsM2 & 0xFF;
			tx[5] = (rotationsM2 >> 8) & 0xFF;
			tx[6] = 0xAC;
			tx[7] = rotationsM3 & 0xFF;
			tx[8] = (rotationsM3 >> 8) & 0xFF;
			tx[9] = 0xAD;
			tx[10] = rotationsM4 & 0xFF;
			tx[11] = (rotationsM4 >> 8) & 0xFF;
			HAL_UART_Transmit(&huart4, tx, 12, 10);

			osEventFlagsClear(passedSecondHandle, PASSED_SECOND);

			HAL_GPIO_TogglePin(LD4_GPIO_Port, LD4_Pin);
		}

		osDelay(100);
		osSemaphoreRelease(uartFreeHandle);
	}
  /* USER CODE END TransmitTask */
}

/* USER CODE BEGIN Header_ReadDistanceTask */
/**
* @brief Function implementing the readDistanceTas thread.
* @param argument: Not used
* @retval None
*/

#define CONVERT_TO_DISTANCE(duration) ((float)(duration*0.0343)/2)

typedef struct HC_SR_04 {
	uint16_t Echo_Pin;
	GPIO_TypeDef* Echo_Pin_PORT;

	uint16_t Trig_Pin;
	GPIO_TypeDef* Trig_Pin_PORT;

	float LAST_DISTANCE_MEASURED;
} HC_SR_04;

HC_SR_04 sensor = {HC_Echo_Pin, HC_Echo_GPIO_Port, HC_Trig_Pin, HC_Trig_GPIO_Port, 0};

/* USER CODE END Header_ReadDistanceTask */
void ReadDistanceTask(void *argument)
{
  /* USER CODE BEGIN ReadDistanceTask */
	uint32_t cnt;
	__HAL_RCC_TIM3_CLK_ENABLE();
	HAL_TIM_Base_Start(&htim3);
  /* Infinite loop */
	for(;;)
	{
		HAL_GPIO_WritePin(sensor.Trig_Pin_PORT, sensor.Trig_Pin, GPIO_PIN_RESET);
		osDelay(2);
		HAL_GPIO_WritePin(sensor.Trig_Pin_PORT, sensor.Trig_Pin, GPIO_PIN_SET);
		osDelay(10);
		HAL_GPIO_WritePin(sensor.Trig_Pin_PORT, sensor.Trig_Pin, GPIO_PIN_RESET);
		__HAL_TIM_SET_COUNTER(&htim3, 0);

		uint32_t t0 = __HAL_TIM_GET_COUNTER(&htim3);
		while(HAL_GPIO_ReadPin(sensor.Echo_Pin_PORT, sensor.Echo_Pin) == GPIO_PIN_RESET)
		{
			if((__HAL_TIM_GET_COUNTER(&htim3) - t0) > 30000)
				goto end;
		}

		__HAL_TIM_SET_COUNTER(&htim3, 0);
		while(HAL_GPIO_ReadPin(sensor.Echo_Pin_PORT, sensor.Echo_Pin) == GPIO_PIN_SET);

		cnt = __HAL_TIM_GET_COUNTER(&htim3);
		sensor.LAST_DISTANCE_MEASURED = CONVERT_TO_DISTANCE(cnt);

		if(sensor.LAST_DISTANCE_MEASURED < 20)
		{
			osEventFlagsSet(distanceFlagHandle, DISTANCE_TOO_CLOSE);
		}
		else
		{
			osEventFlagsClear(distanceFlagHandle, DISTANCE_TOO_CLOSE);
		}

		HAL_GPIO_TogglePin(LD4_GPIO_Port, LD4_Pin);

		end:
			osDelay(60);
	}
  /* USER CODE END ReadDistanceTask */
}

void HAL_TIM_PeriodElapsedCallback(TIM_HandleTypeDef *htim)
{
  if (htim->Instance == TIM6)
  {
    HAL_IncTick();
  }
}

void Error_Handler(void)
{
  __disable_irq();
  while (1)
  {
  }
}
